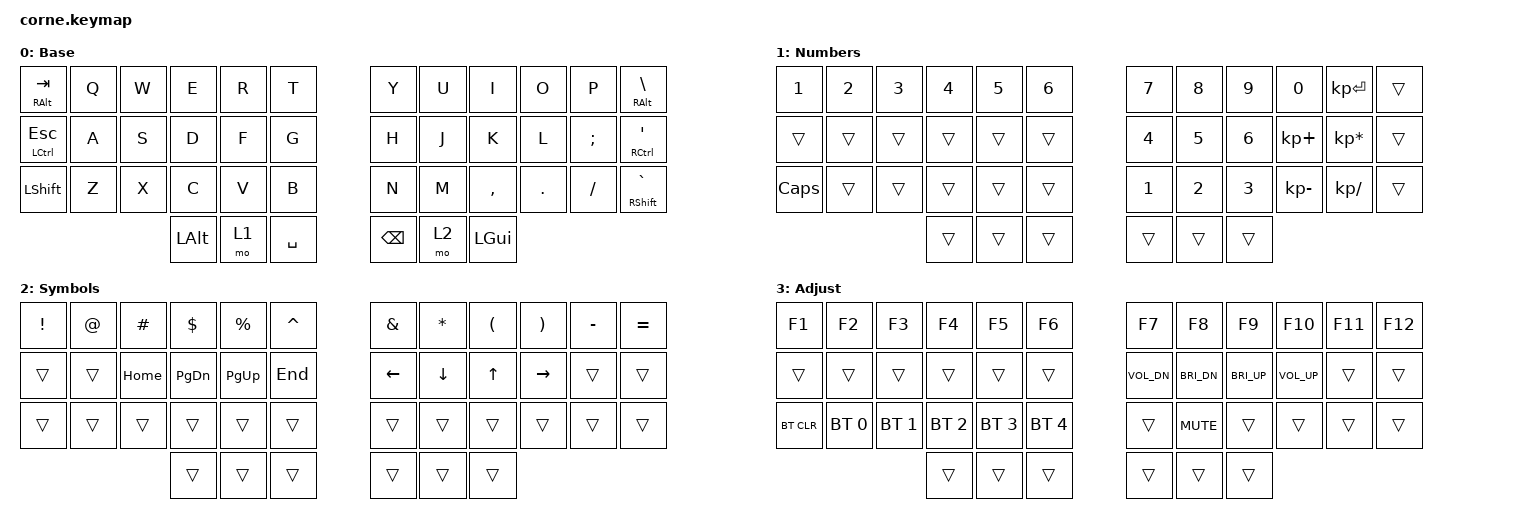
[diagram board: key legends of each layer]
/*
 * Copyright (c) 2020 The ZMK Contributors
 *
 * SPDX-License-Identifier: MIT
 */

#include <behaviors.dtsi>
#include <dt-bindings/zmk/keys.h>
#include <dt-bindings/zmk/bt.h>

&mt {
        tapping-term-ms = <200>;
        flavor = "balanced";
};

/ {
        combos {
                compatible = "zmk,combos";
                combo_LPAR {
                        timeout-ms = <50>;
                        key-positions = <27 28>;
                        bindings = <&kp LPAR>;
                        layers = <0>;
                };
                combo_RPAR {
                        timeout-ms = <50>;
                        key-positions = <31 32>;
                        bindings = <&kp RPAR>;
                        layers = <0>;
                };
                combo_LBRC {
                        timeout-ms = <50>;
                        key-positions = <26 27>;
                        bindings = <&kp LBRC>;
                        layers = <0>;
                };
                combo_RBRC {
                        timeout-ms = <50>;
                        key-positions = <32 33>;
                        bindings = <&kp RBRC>;
                        layers = <0>;
                };
                combo_LBKT {
                        timeout-ms = <50>;
                        key-positions = <25 26>;
                        bindings = <&kp LBKT>;
                        layers = <0>;
                };
                combo_RBKT {
                        timeout-ms = <50>;
                        key-positions = <33 34>;
                        bindings = <&kp RBKT>;
                        layers = <0>;
                };
                combo_RETURN {
                        timeout-ms = <50>;
                        key-positions = <15 16>;
                        bindings = <&kp RET>;
                        layers = <0>;
                };
                combo_DEL {
                        timeout-ms = <50>;
                        key-positions = <19 20>;
                        bindings = <&kp DEL>;
                        layers = <0>;
                };
        };
        conditional_layers {
                compatible = "zmk,conditional-layers";
                tri_layer {
                if-layers = <1 2>;
                then-layer = <3>;
                };
        };
        behaviors {};
        keymap {
                compatible = "zmk,keymap";
                default_layer {
                        label = "Base";
                        bindings = <
// ---------------------------------------------------------------   -------------------------------------------------------------
// | RALT/TAB  |    Q    |    W    |    E    |    R    |    T    |   |    Y    |    U    |    I    |    O    |    P    |    \    |
   &mt RALT TAB   &kp Q     &kp W     &kp E     &kp R     &kp T         &kp Y     &kp U     &kp I     &kp O     &kp P    &mt RALT BSLH
// ---------------------------------------------------------------   -------------------------------------------------------------
// |  CTRL/ESC |    A    |    S    |    D    |    F    |    G    |   |    H    |    J    |    K    |    L    |    ;    |    '    |
   &mt LCTRL ESC  &kp A     &kp S     &kp D     &kp F     &kp G         &kp H     &kp J     &kp K     &kp L    &kp SEMI  &mt RCTRL SQT
// ---------------------------------------------------------------   -------------------------------------------------------------
// |   SHFT    |    Z    |    X    |    C    |    V    |    B    |   |    N    |    M    |    ,    |    .    |    /    |    `    |
     &kp LSHFT   &kp Z      &kp X     &kp C     &kp V     &kp B         &kp N     &kp M   &kp COMMA  &kp DOT  &kp FSLH  &mt RSHFT GRAVE
// ---------------------------------------------------------------   -------------------------------------------------------------
//                                 |   ALT   |   LWR   |   SPC   |   |   BKSP  |   RSE   |   GUI   |
                                    &kp LALT    &mo 1   &kp SPACE      &kp BSPC   &mo 2    &kp LGUI
                                 // --------------------------------------------------------------
                        >;
                };

                lower_layer {
                        label = "Numbers";
                        bindings = <
// ---------------------------------------------------------------   -------------------------------------------------------------
// |     1     |    2    |    3    |    4    |    5    |    6    |   |    7    |    8    |    9    |    0    |    =    |         |
       &kp N1    &kp N2    &kp N3    &kp N4    &kp N5    &kp N6        &kp N7    &kp N8    &kp N9    &kp N0  &kp KP_ENTER &trans
// ---------------------------------------------------------------   -------------------------------------------------------------
// |           |         |         |         |         |         |   |    4    |    5    |    6    |    +    |    *    |         |
      &trans     &trans    &trans    &trans    &trans    &trans         &kp N4    &kp N5    &kp N6 &kp KP_PLUS &kp KP_MULTIPLY &trans
// ------------------------------------------------------------------------------------------------------------------------------
// |   CAPS    |         |         |         |         |         |   |    1    |    2    |    3    |    -    |    /    |         |
     &kp CAPS    &trans    &trans    &trans   &trans    &trans        &kp N1    &kp N2    &kp N3   &kp KP_MINUS &kp KP_DIVIDE &trans
// ------------------------------------------------------------------------------------------------------------------------------
//                                 |         |         |         |   |         |         |         |
                                     &trans    &trans    &trans         &trans   &trans     &trans
                                 // ----------------------------------------------------------------
                        >;
                };

                raise_layer {
                        label = "Symbols";
                        bindings = <
// -------------------------------------------------------------------------------------------------------------------------------
// |     !     |   @     |    #    |    $    |    %    |    ^    |   |    &    |    *    |    (    |    )    |   -_    |   =+    |
      &kp EXCL   &kp AT    &kp HASH  &kp DLLR &kp PRCNT &kp CARET     &kp AMPS  &kp ASTRK  &kp LPAR  &kp RPAR &kp MINUS &kp EQUAL
// -------------------------------------------------------------------------------------------------------------------------------
// |           |         |  HOME   |  PG_DN  |  PG_UP  |   END   |   |  LEFT   |  DOWN   |   UP    |  RIGHT  |         |         |
      &trans     &trans   &kp HOME  &kp PG_DN &kp PG_UP  &kp END       &kp LEFT  &kp DOWN  &kp UP   &kp RIGHT  &trans    &trans
// -------------------------------------------------------------------------------------------------------------------------------
// |           |         |         |         |         |         |   |         |         |         |         |         |         |
      &trans     &trans    &trans    &trans    &trans    &trans         &trans    &trans    &trans    &trans    &trans    &trans
// -------------------------------------------------------------------------------------------------------------------------------
//                                 |         |         |         |   |         |         |         |
                                     &trans    &trans    &trans         &trans   &trans     &trans
                                 // ----------------------------------------------------------------
                        >;
                };

                tri_layer {
                        label = "Adjust";
                        bindings = <
// ---------------------------------------------------------------   -------------------------------------------------------------
// |     F1    |    F2   |    F3   |    F4   |    F5   |    F6   |   |    F7   |    F8   |    F9   |   F10   |   F11   |   F12   |
       &kp F1     &kp F2    &kp F3    &kp F4    &kp F5    &kp F6        &kp F7    &kp F8    &kp F9   &kp F10   &kp F11   &kp F12
// ---------------------------------------------------------------   -------------------------------------------------------------
// |           |         |         |         |         |         |   |  Vol -  | Bright -| Bright +|  Vol +  |         |         |
      &trans     &trans    &trans    &trans    &trans    &trans      &kp C_VOL_DN &kp C_BRI_DN &kp C_BRI_UP &kp C_VOL_UP &trans &trans
// ------------------------------------------------------------------------------------------------------------------------------
// |   BTCLR   |   BT1   |   BT2   |   BT3   |   BT4   |   BT5   |   |         |  Mute   |         |         |         |         |
    &bt BT_CLR &bt BT_SEL 0 &bt BT_SEL 1 &bt BT_SEL 2 &bt BT_SEL 3 &bt BT_SEL 4 &trans &kp C_MUTE &trans &trans    &trans    &trans
// ------------------------------------------------------------------------------------------------------------------------------
//                                 |         |         |         |   |         |         |         |
                                     &trans    &trans    &trans         &trans   &trans     &trans
                                 // ----------------------------------------------------------------
                        >;
                };
        };
};
